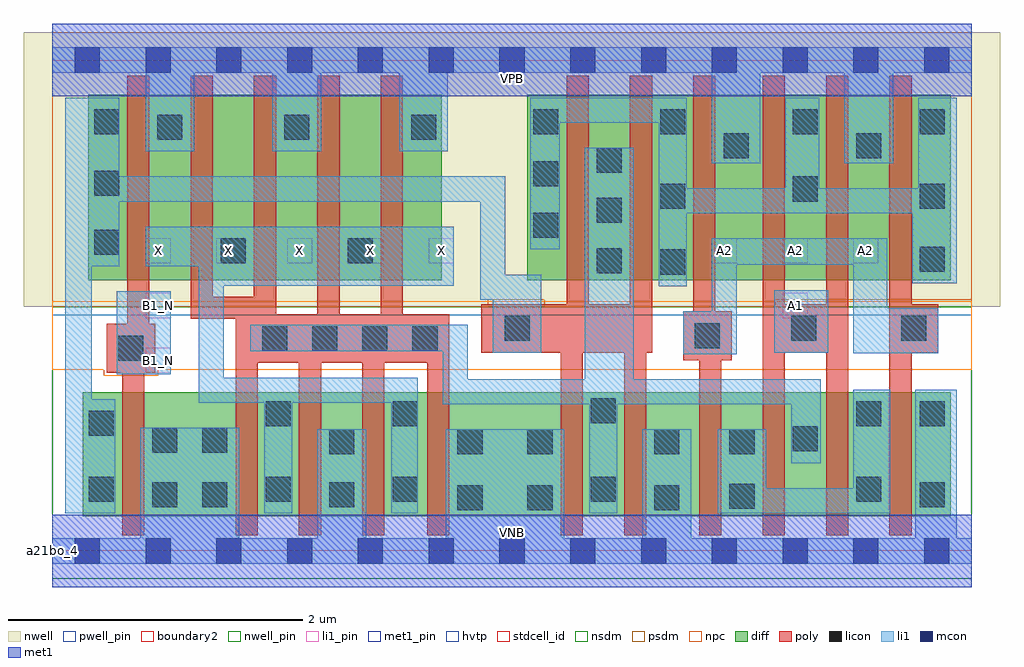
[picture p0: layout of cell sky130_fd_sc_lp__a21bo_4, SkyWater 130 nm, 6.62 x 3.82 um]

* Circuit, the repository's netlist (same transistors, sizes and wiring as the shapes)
* Copyright 2020 The SkyWater PDK Authors
*
* Licensed under the Apache License, Version 2.0 (the "License");
* you may not use this file except in compliance with the License.
* You may obtain a copy of the License at
*
*     https://www.apache.org/licenses/LICENSE-2.0
*
* Unless required by applicable law or agreed to in writing, software
* distributed under the License is distributed on an "AS IS" BASIS,
* WITHOUT WARRANTIES OR CONDITIONS OF ANY KIND, either express or implied.
* See the License for the specific language governing permissions and
* limitations under the License.
*
* SPDX-License-Identifier: Apache-2.0

.SUBCKT sky130_fd_sc_lp__a21bo_4 A1 A2 B1_N VGND VNB VPB VPWR X
*.PININFO A1:I A2:I B1_N:I VGND:I VNB:I VPB:I VPWR:I X:O
MMPA0 pndA A1 VPWR VPB sky130_fd_pr__pfet_01v8_hvt m=2 w=1.26U l=0.15U mult=1 sa=0.265
+ sb=0.265 sd=0.28 area=0.063 perim=1.14
MMPA1 pndA A2 VPWR VPB sky130_fd_pr__pfet_01v8_hvt m=2 w=1.26U l=0.15U mult=1 sa=0.265
+ sb=0.265 sd=0.28 area=0.063 perim=1.14
MMPB0 y B1 pndA VPB sky130_fd_pr__pfet_01v8_hvt m=2 w=1.26U l=0.15U mult=1 sa=0.265
+ sb=0.265 sd=0.28 area=0.063 perim=1.14
MMIPB1N B1 B1_N VPWR VPB sky130_fd_pr__pfet_01v8_hvt m=1 w=1.26U l=0.15U mult=1
+ sa=0.265 sb=0.265 sd=0.28 area=0.063 perim=1.14
MMIPX X y VPWR VPB sky130_fd_pr__pfet_01v8_hvt m=4 w=1.26U l=0.15U mult=1 sa=0.265
+ sb=0.265 sd=0.28 area=0.063 perim=1.14
MMNA0 y A1 sndA1 VNB sky130_fd_pr__nfet_01v8 m=2 w=0.84U l=0.15U mult=1 sa=0.265
+ sb=0.265 sd=0.28 area=0.063 perim=1.14
MMNA1 sndA1 A2 VGND VNB sky130_fd_pr__nfet_01v8 m=2 w=0.84U l=0.15U mult=1 sa=0.265
+ sb=0.265 sd=0.28 area=0.063 perim=1.14
MMNB0 y B1 VGND VNB sky130_fd_pr__nfet_01v8 m=2 w=0.84U l=0.15U mult=1 sa=0.265
+ sb=0.265 sd=0.28 area=0.063 perim=1.14
MMINB1N B1 B1_N VGND VNB sky130_fd_pr__nfet_01v8 m=1 w=0.84U l=0.15U mult=1 sa=0.265
+ sb=0.265 sd=0.28 area=0.063 perim=1.14
MMINX X y VGND VNB sky130_fd_pr__nfet_01v8 m=4 w=0.84U l=0.15U mult=1 sa=0.265
+ sb=0.265 sd=0.28 area=0.063 perim=1.14
.ENDS sky130_fd_sc_lp__a21bo_4

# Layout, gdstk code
import gdstk
lib = gdstk.Library(unit=1e-6, precision=1e-09)
def R(c, l, rs):  # rectangles x0, y0, x1, y1
    for r in rs: c.add(gdstk.rectangle(r[:2], r[2:], *l))
def A(c, l, x, y, w, h, nx, ny, dx, dy):  # array of equal rectangles
    R(c, l, [(x+i*dx, y+j*dy, x+i*dx+w, y+j*dy+h) for i in range(nx) for j in range(ny)])
def P(c, l, *ps):  # polygons
    for p in ps: c.add(gdstk.Polygon(p, *l))
nwell_pin = (64, 16)
nwell = (64, 20)
diff = (65, 20)
poly = (66, 20)
licon = (66, 44)
li1_pin = (67, 16)
li1 = (67, 20)
mcon = (67, 44)
met1_pin = (68, 16)
met1 = (68, 20)
hvtp = (78, 44)
stdcell_id = (81, 4)
nsdm = (93, 44)
psdm = (94, 20)
npc = (95, 20)
pwell_pin = (122, 16)
boundary2 = (236, 0)

sky130_fd_sc_lp__a21bo_4 = lib.new_cell('sky130_fd_sc_lp__a21bo_4')
R(sky130_fd_sc_lp__a21bo_4, nwell_pin, [(0,3.085,6.24,3.33)])
R(sky130_fd_sc_lp__a21bo_4, nwell, [(-0.19,1.655,6.43,3.52)])
R(sky130_fd_sc_lp__a21bo_4, diff, [(0.21,0.235,6.095,1.075), (0.245,1.835,2.645,3.095), (3.225,1.835,6.095,3.095)])
P(sky130_fd_sc_lp__a21bo_4, poly, [(0.7,1.54),(0.66,1.54),(0.66,3.225),(0.51,3.225),(0.51,1.54),(0.37,1.54),(0.37,1.21),(0.475,1.21),(0.475,0.105),(0.625,0.105),(0.625,1.21),(0.7,1.21)],
  [(2.695,1.605),(2.38,1.605),(2.38,3.225),(2.23,3.225),(2.23,1.605),(1.95,1.605),(1.95,3.225),(1.8,3.225),(1.8,1.605),(1.52,1.605),(1.52,3.225),(1.37,3.225),(1.37,1.725),(1.09,1.725),(1.09,3.225),(0.94,3.225),(0.94,1.575),(1.245,1.575),(1.245,0.105),(1.395,0.105),(1.395,1.275),(1.675,1.275),(1.675,0.105),(1.825,0.105),(1.825,1.275),(2.105,1.275),(2.105,0.105),(2.255,0.105),(2.255,1.275),(2.545,1.275),(2.545,0.105),(2.695,0.105)],
  [(4.07,3.225),(3.92,3.225),(3.92,1.675),(3.64,1.675),(3.64,3.225),(3.49,3.225),(3.49,1.675),(2.91,1.675),(2.91,1.345),(3.45,1.345),(3.45,0.105),(3.6,0.105),(3.6,1.345),(3.88,1.345),(3.88,0.105),(4.03,0.105),(4.03,1.345),(4.07,1.345)],
  [(4.61,1.625),(4.5,1.625),(4.5,3.225),(4.35,3.225),(4.35,1.625),(4.28,1.625),(4.28,1.295),(4.39,1.295),(4.39,0.105),(4.54,0.105),(4.54,1.295),(4.61,1.295)],
  [(5.4,3.225),(5.25,3.225),(5.25,1.675),(4.97,1.675),(4.97,3.225),(4.82,3.225),(4.82,0.105),(4.97,0.105),(4.97,1.345),(5.25,1.345),(5.25,0.105),(5.4,0.105)],
  [(6.01,1.675),(5.83,1.675),(5.83,3.225),(5.68,3.225),(5.68,0.105),(5.83,0.105),(5.83,1.345),(6.01,1.345)])
A(sky130_fd_sc_lp__a21bo_4, licon, 1.425, 1.355, 0.17, 0.17, 4, 1, 0.34, 0)
A(sky130_fd_sc_lp__a21bo_4, licon, 3.695, 1.885, 0.17, 0.17, 1, 3, 0, 0.34)
A(sky130_fd_sc_lp__a21bo_4, licon, 3.265, 2.125, 0.17, 0.17, 1, 3, 0, 0.35)
A(sky130_fd_sc_lp__a21bo_4, licon, 0.715, 2.79, 0.17, 0.17, 3, 1, 0.86, 0)
R(sky130_fd_sc_lp__a21bo_4, licon, [(2.75,0.275,2.92,0.445), (3.225,0.275,3.395,0.445), (4.085,0.275,4.255,0.445), (4.595,0.285,4.765,0.455), (0.68,0.295,0.85,0.465), (1.02,0.295,1.19,0.465), (1.88,0.295,2.05,0.465), (5.885,0.295,6.055,0.465), (0.25,0.335,0.42,0.505), (1.45,0.335,1.62,0.505), (2.31,0.335,2.48,0.505), (3.655,0.335,3.825,0.505), (5.455,0.335,5.625,0.505), (1.88,0.655,2.05,0.825), (2.75,0.655,2.92,0.825), (3.225,0.655,3.395,0.825), (4.085,0.655,4.255,0.825), (4.595,0.655,4.765,0.825), (0.68,0.665,0.85,0.835), (1.02,0.665,1.19,0.835), (5.025,0.675,5.195,0.845), (0.25,0.78,0.42,0.95), (1.45,0.845,1.62,1.015), (2.31,0.845,2.48,1.015), (5.455,0.845,5.625,1.015), (5.885,0.845,6.055,1.015), (3.655,0.865,3.825,1.035), (0.45,1.29,0.62,1.46), (4.36,1.375,4.53,1.545), (3.07,1.425,3.24,1.595), (5.015,1.425,5.185,1.595), (5.76,1.425,5.93,1.595), (4.125,1.875,4.295,2.045), (5.885,1.895,6.055,2.065), (1.145,1.95,1.315,2.12), (2.005,1.95,2.175,2.12), (0.285,2.01,0.455,2.18), (4.125,2.32,4.295,2.49), (5.885,2.32,6.055,2.49), (5.025,2.37,5.195,2.54), (0.285,2.41,0.455,2.58), (4.555,2.665,4.725,2.835), (5.455,2.665,5.625,2.835), (0.285,2.825,0.455,2.995), (4.125,2.825,4.295,2.995), (5.025,2.825,5.195,2.995), (5.885,2.825,6.055,2.995)])
A(sky130_fd_sc_lp__a21bo_4, li1_pin, 0.635, 1.95, 0.17, 0.17, 5, 1, 0.48, 0)
A(sky130_fd_sc_lp__a21bo_4, li1_pin, 4.475, 1.95, 0.17, 0.17, 3, 1, 0.48, 0)
R(sky130_fd_sc_lp__a21bo_4, li1_pin, [(0.635,1.21,0.805,1.38), (0.635,1.58,0.805,1.75), (4.955,1.58,5.125,1.75)])
R(sky130_fd_sc_lp__a21bo_4, li1, [(0.44,1.2,0.805,1.76), (4.9,1.345,5.265,1.77)])
P(sky130_fd_sc_lp__a21bo_4, li1, [(4.475,2.63),(4.475,3.245),(2.685,3.245),(2.685,2.71),(2.355,2.71),(2.355,3.245),(1.825,3.245),(1.825,2.71),(1.495,2.71),(1.495,3.245),(0.965,3.245),(0.965,2.71),(0.635,2.71),(0.635,3.245),(0,3.245),(0,3.415),(6.24,3.415),(6.24,3.245),(5.705,3.245),(5.705,2.63),(5.375,2.63),(5.375,3.245),(4.805,3.245),(4.805,2.63)],
  [(4.005,0.085),(4.005,0.825),(4.335,0.825),(4.335,0.085),(5.855,0.085),(5.855,1.095),(6.135,1.095),(6.135,0.085),(6.24,0.085),(6.24,-0.085),(0,-0.085),(0,0.085),(0.6,0.085),(0.6,0.835),(1.27,0.835),(1.27,0.085),(1.8,0.085),(1.8,0.825),(2.13,0.825),(2.13,0.085),(2.67,0.085),(2.67,0.825),(3.475,0.825),(3.475,0.085)],
  [(2.725,2.2),(2.725,1.8),(1.165,1.8),(1.165,1.175),(2.48,1.175),(2.48,0.255),(2.3,0.255),(2.3,1.005),(1.63,1.005),(1.63,0.255),(1.44,0.255),(1.44,1.005),(0.995,1.005),(0.995,1.93),(0.635,1.93),(0.635,2.2)],
  [(4.475,2.12),(5.665,2.12),(5.665,1.645),(6.01,1.645),(6.01,1.34),(5.435,1.34),(5.435,1.94),(4.645,1.94),(4.645,1.335),(4.28,1.335),(4.28,1.625),(4.475,1.625)],
  [(5.205,2.46),(5.875,2.46),(5.875,3.075),(6.135,3.075),(6.135,1.815),(5.835,1.815),(5.835,2.29),(4.305,2.29),(4.305,1.795),(4.115,1.795),(4.115,2.905),(3.445,2.905),(3.445,2.045),(3.245,2.045),(3.245,3.075),(4.305,3.075),(4.305,2.46),(4.975,2.46),(4.975,3.075),(5.205,3.075)],
  [(3.645,0.255),(3.645,0.995),(2.65,0.995),(2.65,1.355),(1.345,1.355),(1.345,1.535),(2.82,1.535),(2.82,1.165),(3.615,1.165),(3.615,2.735),(3.945,2.735),(3.945,1.165),(5.215,1.165),(5.215,0.595),(5.015,0.595),(5.015,0.995),(3.835,0.995),(3.835,0.255)],
  [(0.455,2.54),(3.075,2.54),(3.075,1.875),(3.32,1.875),(3.32,1.345),(2.99,1.345),(2.99,1.705),(2.905,1.705),(2.905,2.37),(0.455,2.37),(0.455,1.93),(0.27,1.93),(0.27,1.03),(0.43,1.03),(0.43,0.255),(0.09,0.255),(0.09,3.075),(0.455,3.075)],
  [(4.845,0.425),(5.435,0.425),(5.435,1.095),(5.685,1.095),(5.685,0.255),(4.515,0.255),(4.515,0.825),(4.845,0.825)])
A(sky130_fd_sc_lp__a21bo_4, mcon, 0.155, -0.085, 0.17, 0.17, 13, 2, 0.48, 3.33)
R(sky130_fd_sc_lp__a21bo_4, met1_pin, [(0,0,6.24,0.245), (0,3.085,6.24,3.33)])
R(sky130_fd_sc_lp__a21bo_4, met1, [(0,-0.245,6.24,0.245), (0,3.085,6.24,3.575)])
R(sky130_fd_sc_lp__a21bo_4, hvtp, [(0,1.6,6.24,3.33)])
R(sky130_fd_sc_lp__a21bo_4, stdcell_id, [(0,0,6.24,3.33)])
R(sky130_fd_sc_lp__a21bo_4, nsdm, [(0,-0.19,6.24,1.655)])
P(sky130_fd_sc_lp__a21bo_4, psdm, [(6.24,3.52),(0,3.52),(0,1.655),(2.96,1.655),(2.96,1.705),(3.34,1.705),(3.34,1.655),(4.905,1.655),(4.905,1.705),(6.24,1.705)])
P(sky130_fd_sc_lp__a21bo_4, npc, [(6.24,1.695),(0,1.695),(0,1.23),(0.35,1.23),(0.35,1.19),(0.72,1.19),(0.72,1.23),(6.24,1.23)])
R(sky130_fd_sc_lp__a21bo_4, pwell_pin, [(0,0,6.24,0.245)])
R(sky130_fd_sc_lp__a21bo_4, boundary2, [(0,0,6.24,3.33)])
sky130_fd_sc_lp__a21bo_4.add(gdstk.Label('VNB', (3.12,0.123), layer=64, texttype=59))
sky130_fd_sc_lp__a21bo_4.add(gdstk.Label('VPB', (3.12,3.208), layer=64, texttype=5))
sky130_fd_sc_lp__a21bo_4.add(gdstk.Label('a21bo_4', (0,0), layer=83, texttype=44))
sky130_fd_sc_lp__a21bo_4.add(gdstk.Label('VPWR', (3.12,3.208), layer=68, texttype=5))
sky130_fd_sc_lp__a21bo_4.add(gdstk.Label('VGND', (3.12,0.123), layer=68, texttype=5))
sky130_fd_sc_lp__a21bo_4.add(gdstk.Label('X', (0.72,2.035), layer=67, texttype=5))
sky130_fd_sc_lp__a21bo_4.add(gdstk.Label('X', (1.2,2.035), layer=67, texttype=5))
sky130_fd_sc_lp__a21bo_4.add(gdstk.Label('X', (1.68,2.035), layer=67, texttype=5))
sky130_fd_sc_lp__a21bo_4.add(gdstk.Label('X', (2.16,2.035), layer=67, texttype=5))
sky130_fd_sc_lp__a21bo_4.add(gdstk.Label('X', (2.64,2.035), layer=67, texttype=5))
sky130_fd_sc_lp__a21bo_4.add(gdstk.Label('A1', (5.04,1.665), layer=67, texttype=5))
sky130_fd_sc_lp__a21bo_4.add(gdstk.Label('A2', (4.56,2.035), layer=67, texttype=5))
sky130_fd_sc_lp__a21bo_4.add(gdstk.Label('A2', (5.04,2.035), layer=67, texttype=5))
sky130_fd_sc_lp__a21bo_4.add(gdstk.Label('A2', (5.52,2.035), layer=67, texttype=5))
sky130_fd_sc_lp__a21bo_4.add(gdstk.Label('B1_N', (0.72,1.295), layer=67, texttype=5))
sky130_fd_sc_lp__a21bo_4.add(gdstk.Label('B1_N', (0.72,1.665), layer=67, texttype=5))

lib.write_gds('sky130_fd_sc_lp__a21bo_4.gds')
